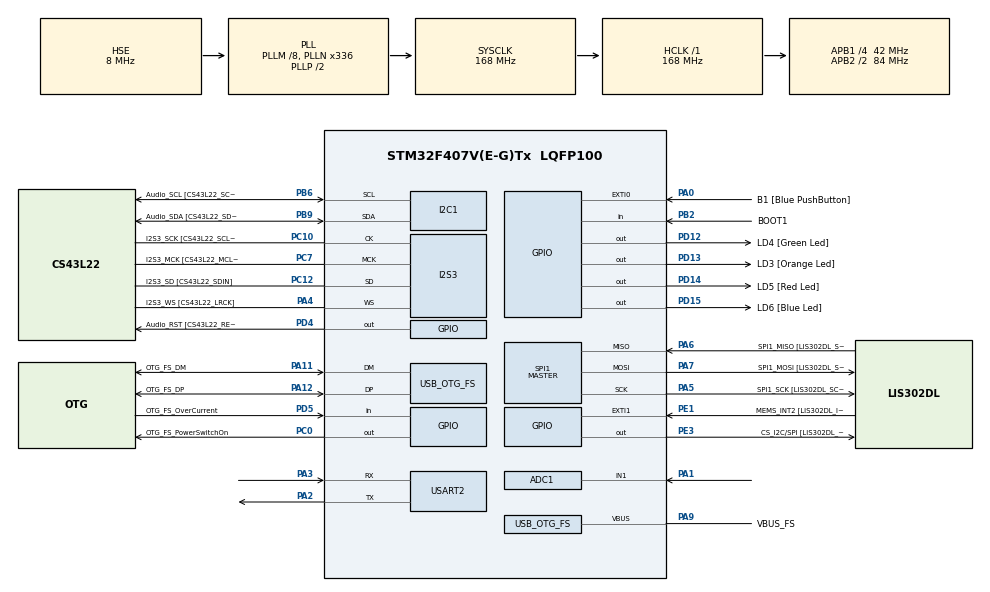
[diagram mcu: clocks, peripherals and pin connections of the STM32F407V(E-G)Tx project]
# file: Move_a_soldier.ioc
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ADC1.Channel-0\#ChannelRegularConversion=ADC_CHANNEL_1
ADC1.NbrOfConversionFlag=1
ADC1.Rank-0\#ChannelRegularConversion=1
ADC1.SamplingTime-0\#ChannelRegularConversion=ADC_SAMPLETIME_3CYCLES
ADC1.master=1
I2S3.AudioFreq-Half_Duplex_Master=I2S_AUDIOFREQ_96K
I2S3.ErrorAudioFreq=-2.34 %
I2S3.ErrorAudioFreq-Half_Duplex_Master=0.8 %
I2S3.FullDuplexMode=I2S_FULLDUPLEXMODE_DISABLE
I2S3.Instance=SPI$Index
I2S3.RealAudioFreq=93.75 KHz
I2S3.RealAudioFreq-Half_Duplex_Master=96.774 KHz
I2S3.VirtualMode=I2S_MODE_MASTER
Mcu.Family=STM32F4
Mcu.Name=STM32F407V(E-G)Tx
Mcu.Package=LQFP100
NVIC.ADC_IRQn=true\:0\:0\:false\:false\:true\:true\:true\:true
NVIC.OTG_FS_IRQn=true\:0\:0\:false\:false\:true\:true\:true\:true
NVIC.PriorityGroup=NVIC_PRIORITYGROUP_0
NVIC.USART2_IRQn=true\:0\:0\:false\:false\:true\:true\:true\:true
PA0-WKUP.GPIO_Label=B1 [Blue PushButton]
PA0-WKUP.GPIO_ModeDefaultEXTI=GPIO_MODE_EVT_RISING
PA0-WKUP.GPIO_PuPd=GPIO_NOPULL
PA0-WKUP.Signal=GPXTI0
PA1.Signal=ADCx_IN1
PA10.GPIO_Label=OTG_FS_ID
PA10.GPIO_Mode=GPIO_MODE_AF_PP
PA10.GPIO_PuPd=GPIO_NOPULL
PA10.GPIO_Speed=GPIO_SPEED_FREQ_LOW
PA10.Signal=USB_OTG_FS_ID
PA11.GPIO_Label=OTG_FS_DM
PA11.GPIO_Mode=GPIO_MODE_AF_PP
PA11.GPIO_PuPd=GPIO_NOPULL
PA11.GPIO_Speed=GPIO_SPEED_FREQ_LOW
PA11.Mode=Host_Only
PA11.Signal=USB_OTG_FS_DM
PA12.GPIO_Label=OTG_FS_DP
PA12.GPIO_Mode=GPIO_MODE_AF_PP
PA12.GPIO_PuPd=GPIO_NOPULL
PA12.GPIO_Speed=GPIO_SPEED_FREQ_LOW
PA12.Mode=Host_Only
PA12.Signal=USB_OTG_FS_DP
PA13.GPIO_Label=SWDIO
PA13.Mode=Serial_Wire
PA13.Signal=SYS_JTMS-SWDIO
PA14.GPIO_Label=SWCLK
PA14.Mode=Serial_Wire
PA14.Signal=SYS_JTCK-SWCLK
PA2.Mode=Asynchronous
PA2.Signal=USART2_TX
PA3.Mode=Asynchronous
PA3.Signal=USART2_RX
PA4.GPIO_Label=I2S3_WS [CS43L22_LRCK]
PA4.GPIO_Mode=GPIO_MODE_AF_PP
PA4.GPIO_PuPd=GPIO_NOPULL
PA4.GPIO_Speed=GPIO_SPEED_FREQ_LOW
PA4.Mode=Half_Duplex_Master
PA4.Signal=I2S3_WS
PA5.GPIO_Label=SPI1_SCK [LIS302DL_SCL/SPC]
PA5.GPIO_Mode=GPIO_MODE_AF_PP
PA5.GPIO_PuPd=GPIO_NOPULL
PA5.GPIO_Speed=GPIO_SPEED_FREQ_LOW
PA5.Mode=Full_Duplex_Master
PA5.Signal=SPI1_SCK
PA6.GPIO_Label=SPI1_MISO [LIS302DL_SDO]
PA6.GPIO_Mode=GPIO_MODE_AF_PP
PA6.GPIO_PuPd=GPIO_NOPULL
PA6.GPIO_Speed=GPIO_SPEED_FREQ_LOW
PA6.Mode=Full_Duplex_Master
PA6.Signal=SPI1_MISO
PA7.GPIO_Label=SPI1_MOSI [LIS302DL_SDA/SDI/SDO]
PA7.GPIO_Mode=GPIO_MODE_AF_PP
PA7.GPIO_PuPd=GPIO_NOPULL
PA7.GPIO_Speed=GPIO_SPEED_FREQ_LOW
PA7.Mode=Full_Duplex_Master
PA7.Signal=SPI1_MOSI
PA9.GPIO_Label=VBUS_FS
PA9.GPIO_Mode=GPIO_MODE_INPUT
PA9.GPIO_PuPd=GPIO_NOPULL
PA9.Mode=Activate_VBUS
PA9.Signal=USB_OTG_FS_VBUS
PB10.GPIO_Label=CLK_IN [MP45DT02_CLK]
PB10.GPIO_Mode=GPIO_MODE_AF_PP
PB10.GPIO_PuPd=GPIO_NOPULL
PB10.GPIO_Speed=GPIO_SPEED_FREQ_LOW
PB10.Signal=I2S2_CK
PB2.GPIO_Label=BOOT1
PB2.GPIO_Mode=GPIO_MODE_INPUT
PB2.GPIO_PuPd=GPIO_NOPULL
PB2.Signal=GPIO_Input
PB3.GPIO_Label=SWO
PB3.Signal=SYS_JTDO-SWO
PB6.GPIO_Label=Audio_SCL [CS43L22_SCL]
PB6.GPIO_Mode=GPIO_MODE_AF_OD
PB6.GPIO_Pu=GPIO_PULLUP
PB6.GPIO_PuPd=GPIO_NOPULL
PB6.GPIO_Speed=GPIO_SPEED_FREQ_LOW
PB6.Mode=I2C
PB6.Signal=I2C1_SCL
PB9.GPIO_Label=Audio_SDA [CS43L22_SDA]
PB9.GPIO_Mode=GPIO_MODE_AF_OD
PB9.GPIO_Pu=GPIO_PULLUP
PB9.GPIO_PuPd=GPIO_NOPULL
PB9.GPIO_Speed=GPIO_SPEED_FREQ_LOW
PB9.Mode=I2C
PB9.Signal=I2C1_SDA
PC0.GPIO_Label=OTG_FS_PowerSwitchOn
PC0.GPIO_PuPd=GPIO_NOPULL
PC0.GPIO_Speed=GPIO_SPEED_FREQ_LOW
PC0.PinState=GPIO_PIN_SET
PC0.Signal=GPIO_Output
PC10.GPIO_Label=I2S3_SCK [CS43L22_SCLK]
PC10.GPIO_Mode=GPIO_MODE_AF_PP
PC10.GPIO_PuPd=GPIO_NOPULL
PC10.GPIO_Speed=GPIO_SPEED_FREQ_LOW
PC10.Mode=Half_Duplex_Master
PC10.Signal=I2S3_CK
PC12.GPIO_Label=I2S3_SD [CS43L22_SDIN]
PC12.GPIO_Mode=GPIO_MODE_AF_PP
PC12.GPIO_PuPd=GPIO_NOPULL
PC12.GPIO_Speed=GPIO_SPEED_FREQ_LOW
PC12.Mode=Half_Duplex_Master
PC12.Signal=I2S3_SD
PC14-OSC32_IN.GPIO_Label=PC14-OSC32_IN
PC14-OSC32_IN.Mode=LSE-External-Oscillator
PC14-OSC32_IN.Signal=RCC_OSC32_IN
PC15-OSC32_OUT.GPIO_Label=PC15-OSC32_OUT
PC15-OSC32_OUT.Mode=LSE-External-Oscillator
PC15-OSC32_OUT.Signal=RCC_OSC32_OUT
PC3.GPIO_Label=PDM_OUT [MP45DT02_DOUT]
PC3.GPIO_Mode=GPIO_MODE_AF_PP
PC3.GPIO_PuPd=GPIO_NOPULL
PC3.GPIO_Speed=GPIO_SPEED_FREQ_LOW
PC3.Signal=I2S2_SD
PC7.GPIO_Label=I2S3_MCK [CS43L22_MCLK]
PC7.GPIO_Mode=GPIO_MODE_AF_PP
PC7.GPIO_PuPd=GPIO_NOPULL
PC7.GPIO_Speed=GPIO_SPEED_FREQ_LOW
PC7.Mode=Master_Clock_Activated
PC7.Signal=I2S3_MCK
PD12.GPIO_Label=LD4 [Green Led]
PD12.GPIO_PuPd=GPIO_NOPULL
PD12.GPIO_Speed=GPIO_SPEED_FREQ_LOW
PD12.Signal=GPIO_Output
PD13.GPIO_Label=LD3 [Orange Led]
PD13.GPIO_PuPd=GPIO_NOPULL
PD13.GPIO_Speed=GPIO_SPEED_FREQ_LOW
PD13.Signal=GPIO_Output
PD14.GPIO_Label=LD5 [Red Led]
PD14.GPIO_PuPd=GPIO_NOPULL
PD14.GPIO_Speed=GPIO_SPEED_FREQ_LOW
PD14.Signal=GPIO_Output
PD15.GPIO_Label=LD6 [Blue Led]
PD15.GPIO_PuPd=GPIO_NOPULL
PD15.GPIO_Speed=GPIO_SPEED_FREQ_LOW
PD15.Signal=GPIO_Output
PD4.GPIO_Label=Audio_RST [CS43L22_RESET]
PD4.GPIO_PuPd=GPIO_NOPULL
PD4.GPIO_Speed=GPIO_SPEED_FREQ_LOW
PD4.Signal=GPIO_Output
PD5.GPIO_Label=OTG_FS_OverCurrent
PD5.GPIO_Mode=GPIO_MODE_INPUT
PD5.GPIO_PuPd=GPIO_NOPULL
PD5.Signal=GPIO_Input
PE1.GPIO_Label=MEMS_INT2 [LIS302DL_INT2]
PE1.GPIO_ModeDefaultEXTI=GPIO_MODE_EVT_RISING
PE1.GPIO_PuPd=GPIO_NOPULL
PE1.Signal=GPXTI1
PE3.GPIO_Label=CS_I2C/SPI [LIS302DL_CS_I2C/SPI]
PE3.GPIO_PuPd=GPIO_NOPULL
PE3.GPIO_Speed=GPIO_SPEED_FREQ_LOW
PE3.Signal=GPIO_Output
PH0-OSC_IN.GPIO_Label=PH0-OSC_IN
PH0-OSC_IN.Mode=HSE-External-Oscillator
PH0-OSC_IN.Signal=RCC_OSC_IN
PH1-OSC_OUT.GPIO_Label=PH1-OSC_OUT
PH1-OSC_OUT.Mode=HSE-External-Oscillator
PH1-OSC_OUT.Signal=RCC_OSC_OUT
ProjectManager.HeapSize=0x200
ProjectManager.StackSize=0x400
ProjectManager.TargetToolchain=STM32CubeIDE
RCC.48MHZClocksFreq_Value=48000000
RCC.AHBFreq_Value=168000000
RCC.APB1CLKDivider=RCC_HCLK_DIV4
RCC.APB1Freq_Value=42000000
RCC.APB1TimFreq_Value=84000000
RCC.APB2CLKDivider=RCC_HCLK_DIV2
RCC.APB2Freq_Value=84000000
RCC.APB2TimFreq_Value=168000000
RCC.CortexFreq_Value=168000000
RCC.HCLKFreq_Value=168000000
RCC.HSE_VALUE=8000000
RCC.HSI_VALUE=16000000
RCC.PLLM=8
RCC.PLLN=336
RCC.PLLQ=7
RCC.SYSCLKFreq_VALUE=168000000
RCC.SYSCLKSource=RCC_SYSCLKSOURCE_PLLCLK
RCC.VCOOutputFreq_Value=336000000
SH.ADCx_IN1.0=ADC1_IN1,IN1
SPI1.BaudRatePrescaler-Full_Duplex_Master=SPI_BAUDRATEPRESCALER_2
SPI1.CalculateBaudRate-Full_Duplex_Master=42.0 MBits/s
SPI1.Direction=SPI_DIRECTION_2LINES
SPI1.Mode=SPI_MODE_MASTER
SPI1.Mode-Full_Duplex_Master=SPI_MODE_MASTER
SPI1.VirtualType=VM_MASTER
USART2.VirtualMode=VM_ASYNC
USB_HOST.BSP.number=1
USB_HOST.USBH_HandleTypeDef-CDC_FS=hUsbHostFS
USB_HOST.VirtualModeFS=Cdc
USB_HOST0.BSP.STBoard=false
USB_HOST0.BSP.api=Unknown
USB_HOST0.BSP.instance=PC0
USB_HOST0.BSP.ip=GPIO
USB_HOST0.BSP.mode=Output
USB_HOST0.BSP.name=Drive_VBUS_FS
USB_HOST0.BSP.solution=PC0
USB_OTG_FS.VirtualMode=Host_Only
USB_OTG_FS.phy_itface=HCD_PHY_EMBEDDED
VP_USB_HOST_VS_USB_HOST_CDC_FS.Mode=CDC_FS
board=STM32F407G-DISC1

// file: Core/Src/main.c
/* USER CODE BEGIN Header */
/**
  ******************************************************************************
  * @file           : main.c
  * @brief          : Main program body
  ******************************************************************************
  * @attention
  *
  * Copyright (c) 2026 STMicroelectronics.
  * All rights reserved.
  *
  * This software is licensed under terms that can be found in the LICENSE file
  * in the root directory of this software component.
  * If no LICENSE file comes with this software, it is provided AS-IS.
  *
  ******************************************************************************
  */
/* USER CODE END Header */
#include "main.h"
#include "usb_host.h"

/* USER CODE BEGIN Includes */
#include "gf_library.h"
/* USER CODE END Includes */

/* USER CODE BEGIN PD */
#include<stdio.h>
#include<string.h>
/* USER CODE END PD */

ADC_HandleTypeDef hadc1;

I2C_HandleTypeDef hi2c1;

I2S_HandleTypeDef hi2s3;

SPI_HandleTypeDef hspi1;

UART_HandleTypeDef huart2;

/* USER CODE BEGIN PV */
uint16_t joy_y = 0;
uint16_t old_joy_y = 0;
uint16_t filter_joy_y = 0;
uint16_t new_y = 0;
uint16_t old_y = 0;
/* USER CODE END PV */

void SystemClock_Config(void);
static void MX_GPIO_Init(void);
static void MX_I2C1_Init(void);
static void MX_I2S3_Init(void);
static void MX_SPI1_Init(void);
static void MX_USART2_UART_Init(void);
static void MX_ADC1_Init(void);
void MX_USB_HOST_Process(void);

/* USER CODE BEGIN PFP */
void draw_gun(uint16_t x,uint16_t y,uint16_t color);
void draw_stickman(uint16_t x,uint16_t y,uint16_t color);
void draw_gunner(uint16_t x,uint16_t y,uint16_t color);
void move_gunner();
/* USER CODE END PFP */

/* USER CODE BEGIN 0 */
void clear_screen(uint16_t color){
	char buffer[12];
	uint8_t end[] = {0xFF,0xFF,0xFF};
	sprintf(buffer,"cls %d",color);
	HAL_UART_Transmit(&huart2,(uint8_t *)buffer,strlen(buffer),100);
	HAL_UART_Transmit(&huart2,end,3,100);
}
/* USER CODE END 0 */

int main(void)
{

  /* MCU Configuration--------------------------------------------------------*/

  /* Reset of all peripherals, Initializes the Flash interface and the Systick. */
  HAL_Init();

  /* Configure the system clock */
  SystemClock_Config();

  /* Initialize all configured peripherals */
  MX_GPIO_Init();
  MX_I2C1_Init();
  MX_I2S3_Init();
  MX_SPI1_Init();
  MX_USART2_UART_Init();
  MX_USB_HOST_Init();
  MX_ADC1_Init();
  /* USER CODE BEGIN 2 */
  clear_screen(COLOR_WHITE);
  HAL_Delay(200);

  /* USER CODE END 2 */

  /* Infinite loop */
  while (1)
  {
    MX_USB_HOST_Process();

    /* USER CODE BEGIN 3 */
move_gunner();
  }
  /* USER CODE END 3 */
}

void SystemClock_Config(void)
{
  RCC_OscInitTypeDef RCC_OscInitStruct = {0};
  RCC_ClkInitTypeDef RCC_ClkInitStruct = {0};

  /** Configure the main internal regulator output voltage
  */
  __HAL_RCC_PWR_CLK_ENABLE();
  __HAL_PWR_VOLTAGESCALING_CONFIG(PWR_REGULATOR_VOLTAGE_SCALE1);

  /** Initializes the RCC Oscillators according to the specified parameters
  * in the RCC_OscInitTypeDef structure.
  */
  RCC_OscInitStruct.OscillatorType = RCC_OSCILLATORTYPE_HSE;
  RCC_OscInitStruct.HSEState = RCC_HSE_ON;
  RCC_OscInitStruct.PLL.PLLState = RCC_PLL_ON;
  RCC_OscInitStruct.PLL.PLLSource = RCC_PLLSOURCE_HSE;
  RCC_OscInitStruct.PLL.PLLM = 8;
  RCC_OscInitStruct.PLL.PLLN = 336;
  RCC_OscInitStruct.PLL.PLLP = RCC_PLLP_DIV2;
  RCC_OscInitStruct.PLL.PLLQ = 7;
  if (HAL_RCC_OscConfig(&RCC_OscInitStruct) != HAL_OK)
  {
    Error_Handler();
  }

  /** Initializes the CPU, AHB and APB buses clocks
  */
  RCC_ClkInitStruct.ClockType = RCC_CLOCKTYPE_HCLK|RCC_CLOCKTYPE_SYSCLK
                              |RCC_CLOCKTYPE_PCLK1|RCC_CLOCKTYPE_PCLK2;
  RCC_ClkInitStruct.SYSCLKSource = RCC_SYSCLKSOURCE_PLLCLK;
  RCC_ClkInitStruct.AHBCLKDivider = RCC_SYSCLK_DIV1;
  RCC_ClkInitStruct.APB1CLKDivider = RCC_HCLK_DIV4;
  RCC_ClkInitStruct.APB2CLKDivider = RCC_HCLK_DIV2;

  if (HAL_RCC_ClockConfig(&RCC_ClkInitStruct, FLASH_LATENCY_5) != HAL_OK)
  {
    Error_Handler();
  }
}

static void MX_ADC1_Init(void)
{

  ADC_ChannelConfTypeDef sConfig = {0};

  /** Configure the global features of the ADC (Clock, Resolution, Data Alignment and number of conversion)
  */
  hadc1.Instance = ADC1;
  hadc1.Init.ClockPrescaler = ADC_CLOCK_SYNC_PCLK_DIV4;
  hadc1.Init.Resolution = ADC_RESOLUTION_12B;
  hadc1.Init.ScanConvMode = DISABLE;
  hadc1.Init.ContinuousConvMode = DISABLE;
  hadc1.Init.DiscontinuousConvMode = DISABLE;
  hadc1.Init.ExternalTrigConvEdge = ADC_EXTERNALTRIGCONVEDGE_NONE;
  hadc1.Init.ExternalTrigConv = ADC_SOFTWARE_START;
  hadc1.Init.DataAlign = ADC_DATAALIGN_RIGHT;
  hadc1.Init.NbrOfConversion = 1;
  hadc1.Init.DMAContinuousRequests = DISABLE;
  hadc1.Init.EOCSelection = ADC_EOC_SINGLE_CONV;
  if (HAL_ADC_Init(&hadc1) != HAL_OK)
  {
    Error_Handler();
  }

  /** Configure for the selected ADC regular channel its corresponding rank in the sequencer and its sample time.
  */
  sConfig.Channel = ADC_CHANNEL_1;
  sConfig.Rank = 1;
  sConfig.SamplingTime = ADC_SAMPLETIME_3CYCLES;
  if (HAL_ADC_ConfigChannel(&hadc1, &sConfig) != HAL_OK)
  {
    Error_Handler();
  }

}

static void MX_I2C1_Init(void)
{

  hi2c1.Instance = I2C1;
  hi2c1.Init.ClockSpeed = 100000;
  hi2c1.Init.DutyCycle = I2C_DUTYCYCLE_2;
  hi2c1.Init.OwnAddress1 = 0;
  hi2c1.Init.AddressingMode = I2C_ADDRESSINGMODE_7BIT;
  hi2c1.Init.DualAddressMode = I2C_DUALADDRESS_DISABLE;
  hi2c1.Init.OwnAddress2 = 0;
  hi2c1.Init.GeneralCallMode = I2C_GENERALCALL_DISABLE;
  hi2c1.Init.NoStretchMode = I2C_NOSTRETCH_DISABLE;
  if (HAL_I2C_Init(&hi2c1) != HAL_OK)
  {
    Error_Handler();
  }

}

static void MX_I2S3_Init(void)
{

  hi2s3.Instance = SPI3;
  hi2s3.Init.Mode = I2S_MODE_MASTER_TX;
  hi2s3.Init.Standard = I2S_STANDARD_PHILIPS;
  hi2s3.Init.DataFormat = I2S_DATAFORMAT_16B;
  hi2s3.Init.MCLKOutput = I2S_MCLKOUTPUT_ENABLE;
  hi2s3.Init.AudioFreq = I2S_AUDIOFREQ_96K;
  hi2s3.Init.CPOL = I2S_CPOL_LOW;
  hi2s3.Init.ClockSource = I2S_CLOCK_PLL;
  hi2s3.Init.FullDuplexMode = I2S_FULLDUPLEXMODE_DISABLE;
  if (HAL_I2S_Init(&hi2s3) != HAL_OK)
  {
    Error_Handler();
  }

}

static void MX_SPI1_Init(void)
{

  /* SPI1 parameter configuration*/
  hspi1.Instance = SPI1;
  hspi1.Init.Mode = SPI_MODE_MASTER;
  hspi1.Init.Direction = SPI_DIRECTION_2LINES;
  hspi1.Init.DataSize = SPI_DATASIZE_8BIT;
  hspi1.Init.CLKPolarity = SPI_POLARITY_LOW;
  hspi1.Init.CLKPhase = SPI_PHASE_1EDGE;
  hspi1.Init.NSS = SPI_NSS_SOFT;
  hspi1.Init.BaudRatePrescaler = SPI_BAUDRATEPRESCALER_2;
  hspi1.Init.FirstBit = SPI_FIRSTBIT_MSB;
  hspi1.Init.TIMode = SPI_TIMODE_DISABLE;
  hspi1.Init.CRCCalculation = SPI_CRCCALCULATION_DISABLE;
  hspi1.Init.CRCPolynomial = 10;
  if (HAL_SPI_Init(&hspi1) != HAL_OK)
  {
    Error_Handler();
  }

}

static void MX_USART2_UART_Init(void)
{

  huart2.Instance = USART2;
  huart2.Init.BaudRate = 115200;
  huart2.Init.WordLength = UART_WORDLENGTH_8B;
  huart2.Init.StopBits = UART_STOPBITS_1;
  huart2.Init.Parity = UART_PARITY_NONE;
  huart2.Init.Mode = UART_MODE_TX_RX;
  huart2.Init.HwFlowCtl = UART_HWCONTROL_NONE;
  huart2.Init.OverSampling = UART_OVERSAMPLING_16;
  if (HAL_UART_Init(&huart2) != HAL_OK)
  {
    Error_Handler();
  }

}

static void MX_GPIO_Init(void)
{
  GPIO_InitTypeDef GPIO_InitStruct = {0};

  /* GPIO Ports Clock Enable */
  __HAL_RCC_GPIOE_CLK_ENABLE();
  __HAL_RCC_GPIOC_CLK_ENABLE();
  __HAL_RCC_GPIOH_CLK_ENABLE();
  __HAL_RCC_GPIOA_CLK_ENABLE();
  __HAL_RCC_GPIOB_CLK_ENABLE();
  __HAL_RCC_GPIOD_CLK_ENABLE();

  /*Configure GPIO pin Output Level */
  HAL_GPIO_WritePin(CS_I2C_SPI_GPIO_Port, CS_I2C_SPI_Pin, GPIO_PIN_RESET);

  /*Configure GPIO pin Output Level */
  HAL_GPIO_WritePin(OTG_FS_PowerSwitchOn_GPIO_Port, OTG_FS_PowerSwitchOn_Pin, GPIO_PIN_SET);

  /*Configure GPIO pin Output Level */
  HAL_GPIO_WritePin(GPIOD, LD4_Pin|LD3_Pin|LD5_Pin|LD6_Pin
                          |Audio_RST_Pin, GPIO_PIN_RESET);

  /*Configure GPIO pin : CS_I2C_SPI_Pin */
  GPIO_InitStruct.Pin = CS_I2C_SPI_Pin;
  GPIO_InitStruct.Mode = GPIO_MODE_OUTPUT_PP;
  GPIO_InitStruct.Pull = GPIO_NOPULL;
  GPIO_InitStruct.Speed = GPIO_SPEED_FREQ_LOW;
  HAL_GPIO_Init(CS_I2C_SPI_GPIO_Port, &GPIO_InitStruct);

  /*Configure GPIO pin : OTG_FS_PowerSwitchOn_Pin */
  GPIO_InitStruct.Pin = OTG_FS_PowerSwitchOn_Pin;
  GPIO_InitStruct.Mode = GPIO_MODE_OUTPUT_PP;
  GPIO_InitStruct.Pull = GPIO_NOPULL;
  GPIO_InitStruct.Speed = GPIO_SPEED_FREQ_LOW;
  HAL_GPIO_Init(OTG_FS_PowerSwitchOn_GPIO_Port, &GPIO_InitStruct);

  /*Configure GPIO pin : PDM_OUT_Pin */
  GPIO_InitStruct.Pin = PDM_OUT_Pin;
  GPIO_InitStruct.Mode = GPIO_MODE_AF_PP;
  GPIO_InitStruct.Pull = GPIO_NOPULL;
  GPIO_InitStruct.Speed = GPIO_SPEED_FREQ_LOW;
  GPIO_InitStruct.Alternate = GPIO_AF5_SPI2;
  HAL_GPIO_Init(PDM_OUT_GPIO_Port, &GPIO_InitStruct);

  /*Configure GPIO pin : B1_Pin */
  GPIO_InitStruct.Pin = B1_Pin;
  GPIO_InitStruct.Mode = GPIO_MODE_EVT_RISING;
  GPIO_InitStruct.Pull = GPIO_NOPULL;
  HAL_GPIO_Init(B1_GPIO_Port, &GPIO_InitStruct);

  /*Configure GPIO pin : BOOT1_Pin */
  GPIO_InitStruct.Pin = BOOT1_Pin;
  GPIO_InitStruct.Mode = GPIO_MODE_INPUT;
  GPIO_InitStruct.Pull = GPIO_NOPULL;
  HAL_GPIO_Init(BOOT1_GPIO_Port, &GPIO_InitStruct);

  /*Configure GPIO pin : CLK_IN_Pin */
  GPIO_InitStruct.Pin = CLK_IN_Pin;
  GPIO_InitStruct.Mode = GPIO_MODE_AF_PP;
  GPIO_InitStruct.Pull = GPIO_NOPULL;
  GPIO_InitStruct.Speed = GPIO_SPEED_FREQ_LOW;
  GPIO_InitStruct.Alternate = GPIO_AF5_SPI2;
  HAL_GPIO_Init(CLK_IN_GPIO_Port, &GPIO_InitStruct);

  /*Configure GPIO pins : LD4_Pin LD3_Pin LD5_Pin LD6_Pin
                           Audio_RST_Pin */
  GPIO_InitStruct.Pin = LD4_Pin|LD3_Pin|LD5_Pin|LD6_Pin
                          |Audio_RST_Pin;
  GPIO_InitStruct.Mode = GPIO_MODE_OUTPUT_PP;
  GPIO_InitStruct.Pull = GPIO_NOPULL;
  GPIO_InitStruct.Speed = GPIO_SPEED_FREQ_LOW;
  HAL_GPIO_Init(GPIOD, &GPIO_InitStruct);

  /*Configure GPIO pin : OTG_FS_OverCurrent_Pin */
  GPIO_InitStruct.Pin = OTG_FS_OverCurrent_Pin;
  GPIO_InitStruct.Mode = GPIO_MODE_INPUT;
  GPIO_InitStruct.Pull = GPIO_NOPULL;
  HAL_GPIO_Init(OTG_FS_OverCurrent_GPIO_Port, &GPIO_InitStruct);

  /*Configure GPIO pin : MEMS_INT2_Pin */
  GPIO_InitStruct.Pin = MEMS_INT2_Pin;
  GPIO_InitStruct.Mode = GPIO_MODE_EVT_RISING;
  GPIO_InitStruct.Pull = GPIO_NOPULL;
  HAL_GPIO_Init(MEMS_INT2_GPIO_Port, &GPIO_InitStruct);

}

/* USER CODE BEGIN 4 */
// CLEAN CODE: A single composite object (Prefab) bound to a reference point.
// All components are shifted relative to the input (x, y) coordinates.
void draw_gun(uint16_t x,uint16_t y,uint16_t color){
	// Barrel (Adding +1 to Y to create thickness)
	Line line1= {x, y,   x+35, y, color};
	Line line2= {x, y+1, x+35, y+1, color};
	Line line3= {x, y+2, x+35, y+2, color};
	Line line4= {x, y+3, x+35, y+3, color};
	draw_line(&line1);
	draw_line(&line2);
	draw_line(&line3);
	draw_line(&line4);
	// Iron Sight
	Line line5= {x+5, y-3, x+5, y, color};
	Line line6= {x+5, y-3, x+12, y-3, color};
	Line line7= {x+12, y-3, x+12, y, color};
	draw_line(&line5);
	draw_line(&line6);
	draw_line(&line7);

	// Grip
	Line line8= {x+7, y+3, x+7, y+9, color};
	Line line9= {x+8, y+3, x+8, y+9, color};
	draw_line(&line8);
	draw_line(&line9);

	 // Magazine (Angled by manipulating X and Y offsets)
	Line line10= {x+16, y+3, x+13, y+10, color};
	Line line11= {x+17, y+3, x+14, y+10, color};
	Line line12= {x+18, y+3, x+15, y+10, color};
	Line line13= {x+19, y+3, x+16, y+10, color};
	draw_line(&line10);
	draw_line(&line11);
	draw_line(&line12);
	draw_line(&line13);
	// Trigger/Details
	Circle circle1 = {x+10,y+3,3,color};
	draw_circle(&circle1);
	// Front Sight / Flash (Triangle)
	// Note on Coordinate System: To calculate this, determine a center point.
	// E.g., if the center is 100,100, subtracting 20 from Y means going UP.
	// Subtracting 15 from X means moving LEFT because the screen's (0,0) is at the top-left.
	Triangle triangle1={x+30,y-5,x+30, y ,x+35,y,color};
	draw_triangle(&triangle1);
}

void draw_stickman(uint16_t x,uint16_t y,uint16_t color){
//x = 50 y = 60
	//head
	Circle circle1 ={x,y,6,color};
	draw_circle_fill(&circle1);
	//body
	Line body1 ={x,y+6,x,y+25,color};
	Line body2 ={x+1,y+6,x+1,y+25,color};
	draw_line(&body1);
	draw_line(&body2);
	//arm 1
	Line arm_part_1 = {x,y+8,x+4,y+19,color};
	Line arm_part_1e = {x+1,y+8,x+5,y+19,color};
	draw_line(&arm_part_1);
	draw_line(&arm_part_1e);
	//The curved section is a continuation of arm 1.
	Line arm_part_1_2 = {x+5,y+19,x+11,y+10,color};
	Line arm_part_1_2e = {x+6,y+19,x+12,y+10,color};
	draw_line(&arm_part_1_2);
	draw_line(&arm_part_1_2e);
	//arm 2
	Line arm_part_2 = {x,y+8,x+12,y+19,color};
	Line arm_part_2_1 = {x+1,y+8,x+13,y+19,color};
	draw_line(&arm_part_2);
	draw_line(&arm_part_2_1);
	//The curved part is a continuation of arm 2.
	Line arm_part_2_e={x+13,y+19,x+22,y+10,color};
	Line arm_part_2_e1={x+12,y+19,x+21,y+10,color};
	draw_line(&arm_part_2_e);
	draw_line(&arm_part_2_e1);
	//legs
	Line leg_right = {x+1,y+25,x+5,y+37,color};
	Line leg_righte = {x+2,y+25,x+6,y+37,color};
	Line leg_left ={x+1,y+25,x-4,y+37,color};
	Line leg_lefte ={x+2,y+25,x-3,y+37,color};
	draw_line(&leg_right);
	draw_line(&leg_righte);
	draw_line(&leg_left);
	draw_line(&leg_lefte);
}
//military armed drawing method
void draw_gunner(uint16_t x,uint16_t y,uint16_t color){
	draw_gun(x+2,y+5,color);
	draw_stickman(x,y,color);
}
void move_gunner(){
	// --- 1. READING RAW DATA FROM THE ADC ---
    HAL_ADC_Start(&hadc1);                   // Start ADC cyclet
    HAL_ADC_PollForConversion(&hadc1, 100);  // Wait until data is ready (maximum 100ms)
    joy_y = HAL_ADC_GetValue(&hadc1);        // Get the raw analog value between 0 and 4095

    /* --- 2. MOVING AVERAGE FILTER (SMOOTHING) ---
	Logic: Don't immediately trust the new value, preserve the weight of the past!
	filter_joy_y (Old accumulated value) has a 75% weight (multiplied by 3)
	joy_y (Newly read raw value) has a 25% weight (multiplied by 1)
	We find the new average by dividing the total by 4.
    Situation 1: Everything is normal.
	The joystick is still and it's giving the value 100.
	3 lazy people say: 100 + 100 + 100 = 300
	1 excited person (joystick) says: 100
	Total 400. If you divide this by 4, the result is still 100. The man doesn't move or tremble.
	Situation 2: Noise Arrives!
	You didn't touch the joystick, but the electricity surged, and the joystick suddenly sent a nonsensical value: 200!
	Three lazy people are still defending the old position: 100 + 100 + 100 = 300
	One excited person (joystick) suddenly shouts: 200
	Total 500. Dividing that by 4 gives 125.
	*/
    filter_joy_y = (filter_joy_y * 3 + joy_y) / 4;

    // --- 3. MAPPING ---
    // Convert the filtered, noise-free value between 0-4095,
    // to the 0-240 pixel range, which is the Y-axis of the screen.
    new_y = (filter_joy_y * 240) / 4095;

    // --- 4. SCREEN UPDATE (DEADBAND / STATUS CHECK) ---
    // To avoid occupying the UART line and to refresh the screen only when necessary,
    // ONLY draw if the newly calculated Y pixel is different from the old Y pixel.
    if(new_y != old_y){
        draw_gunner(20, old_y, COLOR_WHITE); // Step 1: Erase the man in the old location with white (Background color)
        old_y = new_y;                       // Step 2: Save the new location as "old" (for the next loop)
        draw_gunner(20, new_y, COLOR_BLACK); // Step 3: Draw the man in black in the new location.
    }

    // --- 5. CYCLE DELAY (PACING) ---
    // Relieve the CPU and UART bus some strain. Let it run approximately 100 times per second (10ms).
    HAL_Delay(10);
}
/* USER CODE END 4 */

void Error_Handler(void)
{
  __disable_irq();
  while (1)
  {
  }
}
